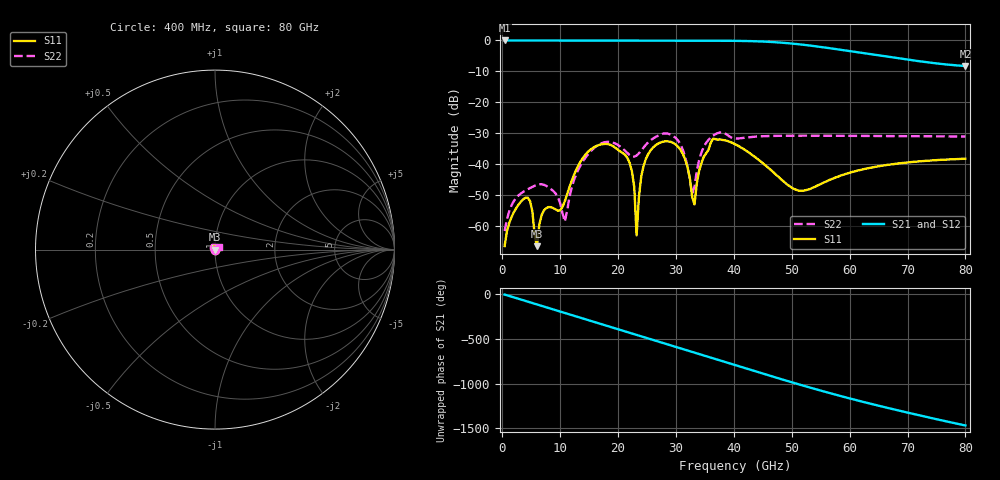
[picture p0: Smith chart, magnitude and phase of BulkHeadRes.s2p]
! File created by SignalIntegrity v1.1.9: Signal and Power Integrity Tools
! https://github.com/TeledyneLeCroy/SignalIntegrity
# MHz MA S R 50.0
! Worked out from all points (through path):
!   200 points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, 400 MHz to 80 GHz, reference 50 ohm
!   highest |S21| = 0.00 dB at 400 MHz (marker M1); lowest = -8.3 dB at 80 GHz (marker M2)
!   group delay of S21, straight-line fit = 52.1 ps
!   lowest |S11| = -66.6 dB at 6 GHz (marker M3), VSWR 1.00, Z = 50 + j0.0124 ohm
!   |S11| at or under -10 dB: start of sweep to end of sweep
!   |S22| runs from -61.6 to -29.8 dB; largest |S21 - S12| = 0
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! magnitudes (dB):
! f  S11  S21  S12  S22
! 400 MHz  -66.5  0.0  0.0  -61.6
! 4.4 GHz  -50.9  0.0  0.0  -48.1
! 6 GHz  -66.6  0.0  0.0  -46.7
! 7.2 GHz  -55.0  0.0  0.0  -46.7
! 10.8 GHz  -52.0  0.0  0.0  -58.6
! 14 GHz  -37.8  0.0  0.0  -38.9
! 17.6 GHz  -33.5  0.0  0.0  -33.0
! 21.6 GHz  -38.0  -0.1  -0.1  -36.4
! 22.8 GHz  -47.5  -0.1  -0.1  -37.6
! 23.2 GHz  -63.1  -0.1  -0.1  -37.3
! 23.6 GHz  -50.7  -0.1  -0.1  -36.5
! 24.4 GHz  -40.6  -0.1  -0.1  -34.6
! 27.2 GHz  -33.1  -0.1  -0.1  -30.6
! 31.2 GHz  -36.7  -0.1  -0.1  -35.5
! 32.8 GHz  -50.7  -0.1  -0.1  -49.7
! 33.2 GHz  -53.1  -0.1  -0.1  -47.3
! 34 GHz  -42.2  -0.1  -0.1  -38.7
! 36.4 GHz  -31.8  -0.1  -0.1  -30.8
! 40.4 GHz  -33.8  -0.1  -0.1  -31.7
! 53.6 GHz  -47.7  -1.8  -1.8  -30.8
! 66.8 GHz  -40.2  -5.3  -5.3  -31.0
! 80 GHz  -38.3  -8.3  -8.3  -31.1
